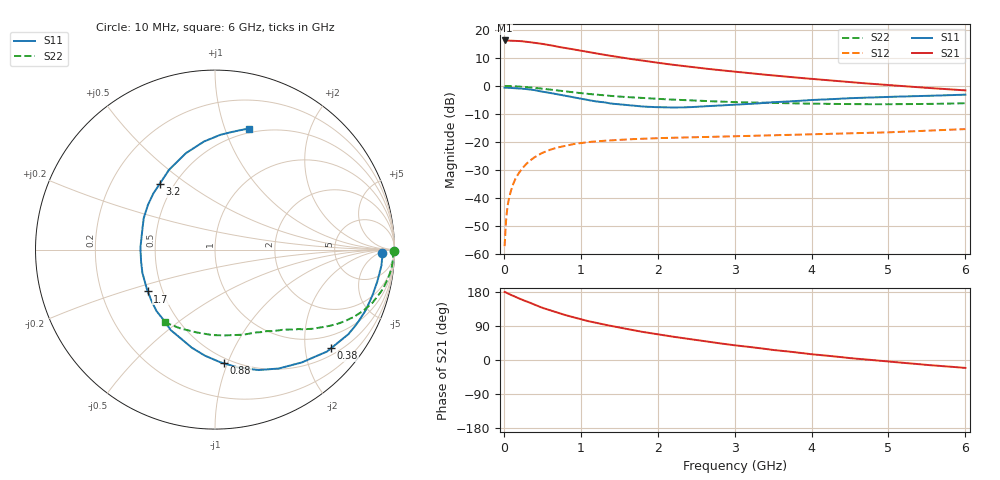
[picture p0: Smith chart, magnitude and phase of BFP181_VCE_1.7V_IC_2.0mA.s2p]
! Infineon Technologies  Discrete & RF Semiconductors
! BFP181
! VCE = 1.7 V,  IC =  2.0 mA
! Common Emitter S-Parameters:  Jan 2016
# GHz  S  MA  R  50
!  f  S11  S21  S12  S22
! GHz  MAG  ANG  MAG  ANG  MAG  ANG  MAG  ANG
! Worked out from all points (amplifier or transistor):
!   210 points, 10 MHz to 6 GHz, reference 50 ohm
!   highest |S21| = 16.2 dB at 10 MHz (marker M1)
!   |S21| within 3 dB of that: start of sweep to 868.4 MHz
!   unconditionally stable (mu >= 1): 2.374 GHz to end of sweep
!   at 185 MHz: K = 0.10, MSG = 23.8 dB, |S12| = -31.5 dB
!   at 1.52 GHz: K = 0.70, MSG = 14.7 dB, |S12| = -19.2 dB
!   at 6 GHz: K = 1.16, MAG = 4.5 dB, |S12| = -15.4 dB
!   S11 on the Smith chart (normalised r, x): 10 MHz: 25, -8; 380 MHz: 0.66, -2.58; 880 MHz: 0.46, -0.97; 1.7 GHz: 0.41, -0.24; 3.2 GHz: 0.42, +0.40; 6 GHz: 0.46, +1.21
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0.01  0.9307 -1.3  6.463 179.3  0.0014 87.8  0.9974 -0.4
0.03  0.9323 -3.2  6.452 177.7  0.0042 86.2  0.9912 -1.4
0.045  0.9317 -4.8  6.452 176.1  0.0067 87.5  0.9929 -2.2
0.11  0.9196 -12.1  6.388 170.3  0.0161 81.6  0.9895 -5.5
0.2  0.9051 -21.9  6.336 162.3  0.0287 77.0  0.9754 -9.8
0.3  0.8799 -32.4  6.125 154.4  0.0419 70.6  0.953 -14.4
0.38  0.849 -40.3  5.925 147.4  0.0514 65.9  0.9317 -17.7
0.5  0.7928 -52.5  5.617 137.8  0.0642 59.0  0.8951 -22.3
0.6  0.7517 -61.8  5.36 131.0  0.0729 54.4  0.8615 -25.7
0.7  0.7137 -70.1  4.997 124.7  0.0802 50.5  0.829 -28.6
0.88  0.6358 -85.5  4.546 114.2  0.0909 43.8  0.7769 -32.8
1.02  0.5861 -97.0  4.198 106.6  0.0969 39.6  0.7402 -35.7
1.3  0.5121 -118.7  3.599 93.7  0.1055 32.9  0.6811 -40.5
1.5  0.4727 -133.6  3.266 85.6  0.1097 29.4  0.6463 -43.2
1.7  0.4419 -148.2  2.956 78.1  0.1133 26.6  0.6205 -45.9
2.02  0.4175 -170.3  2.57 67.2  0.1177 23.4  0.5852 -49.8
2.4  0.4181 166.4  2.219 55.5  0.1216 20.3  0.5544 -54.9
3.1  0.4706 133.8  1.741 36.6  0.128 16.8  0.5118 -65.0
3.2  0.4785 130.1  1.686 34.3  0.1292 16.5  0.5081 -66.6
4.1  0.5686 104.4  1.301 13.4  0.1389 13.5  0.4813 -83.2
5.1  0.6446 86.1  1.013 -5.8  0.1514 11.4  0.4727 -104.6
6  0.7 74.5  0.834 -20.9  0.1704 8.7  0.4928 -124.7
